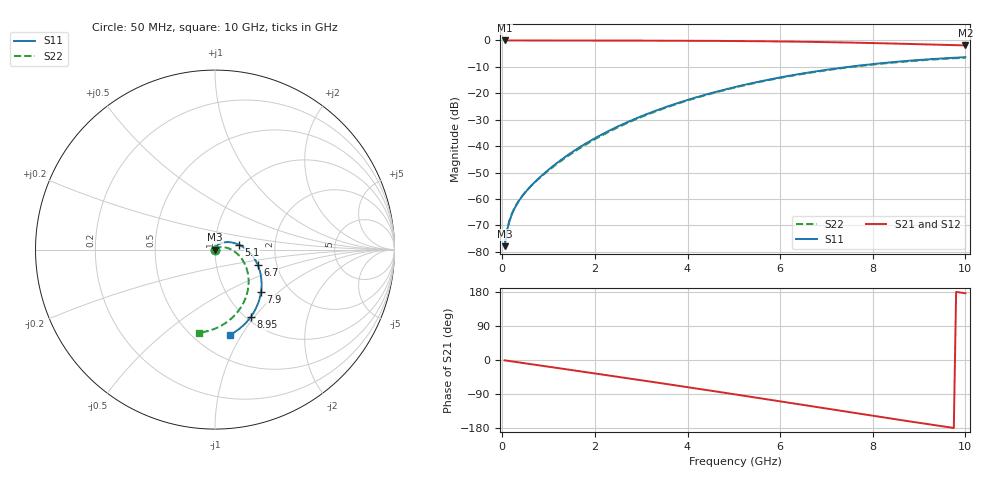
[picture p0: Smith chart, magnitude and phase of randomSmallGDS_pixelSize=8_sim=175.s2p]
! freq	dB(S11)	phase(S11)	dB(S12)	phase(S12)
!  dB(S21)	phase(S21)	dB(S22)	phase(S22)
!S-par simulation data
#  GHz  S  DB  R 50
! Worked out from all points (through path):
!   200 points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, 50 MHz to 10 GHz, reference 50 ohm
!   highest |S21| = 0.00 dB at 50 MHz (marker M1); lowest = -1.9 dB at 10 GHz (marker M2)
!   group delay of S21, straight-line fit = 51.5 ps
!   lowest |S11| = -77.9 dB at 50 MHz (marker M3), VSWR 1.00, Z = 50 + j0.0122 ohm
!   |S11| at or under -10 dB: start of sweep to 7.476 GHz
!   |S22| runs from -77.6 to -6.5 dB; largest |S21 - S12| = 0
!   S11 on the Smith chart (normalised r, x): 50 MHz: 1.00, +0.00; 5.1 GHz: 1.31, +0.07; 6.7 GHz: 1.59, -0.30; 7.9 GHz: 1.44, -0.78; 8.95 GHz: 1.05, -0.96; 10 GHz: 0.72, -0.89
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0.05  -77.89 72.5  -0.00 -0.9  -0.00 -0.9  -77.63 70.1
0.1  -72.16 81.5  -0.00 -1.8  -0.00 -1.8  -71.89 76.0
0.15  -68.65 84.9  -0.00 -2.7  -0.00 -2.7  -68.40 76.5
0.2  -66.11 86.8  -0.00 -3.6  -0.00 -3.6  -65.89 75.6
0.3  -62.43 89.0  -0.00 -5.4  -0.00 -5.4  -62.26 72.6
0.45  -58.51 90.9  -0.01 -8.0  -0.01 -8.0  -58.45 67.8
0.7  -53.65 92.4  -0.02 -12.5  -0.02 -12.5  -53.76 60.9
1  -48.92 91.6  -0.02 -17.8  -0.02 -17.8  -49.19 54.5
1.35  -44.20 87.7  -0.03 -24.0  -0.03 -24.0  -44.57 48.5
1.75  -39.57 80.8  -0.04 -31.1  -0.04 -31.1  -39.97 42.2
2.5  -32.53 65.3  -0.05 -44.4  -0.05 -44.4  -32.87 30.6
3.4  -26.04 46.2  -0.08 -60.7  -0.08 -60.7  -26.28 16.2
4.25  -21.21 28.7  -0.13 -76.2  -0.13 -76.2  -21.41 2.1
5.05  -17.53 12.5  -0.21 -91.1  -0.21 -91.1  -17.71 -11.7
5.1  -17.32 11.5  -0.22 -92.1  -0.22 -92.1  -17.50 -12.6
5.9  -14.33 -4.4  -0.35 -107.2  -0.35 -107.2  -14.50 -26.8
6.7  -11.90 -20.0  -0.54 -122.4  -0.54 -122.4  -12.06 -41.4
7.3  -10.39 -31.6  -0.72 -133.9  -0.72 -133.9  -10.56 -52.4
7.9  -9.13 -42.9  -0.94 -145.3  -0.94 -145.3  -9.31 -63.4
8.35  -8.34 -51.1  -1.13 -153.7  -1.13 -153.7  -8.51 -71.5
8.95  -7.45 -61.9  -1.39 -164.9  -1.39 -164.9  -7.63 -82.3
10  -6.33 -79.9  -1.88 176.1  -1.88 176.1  -6.54 -100.9
